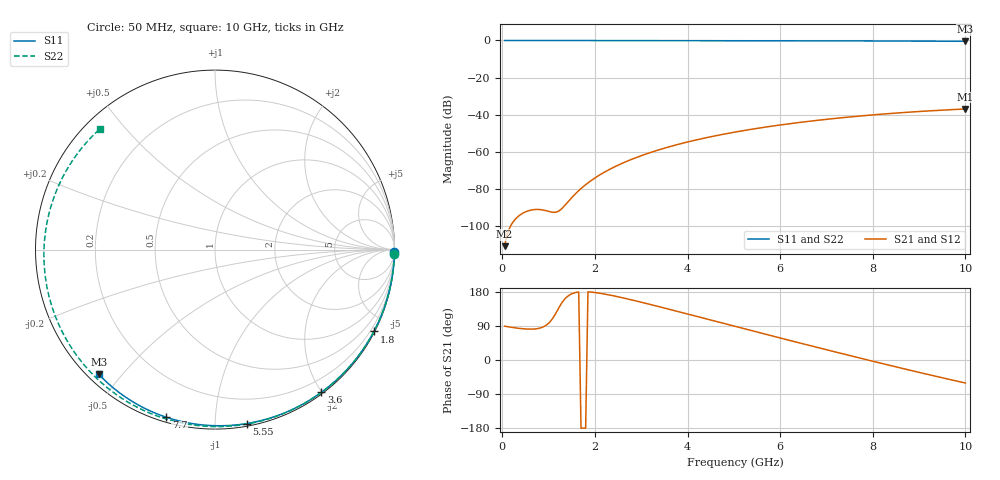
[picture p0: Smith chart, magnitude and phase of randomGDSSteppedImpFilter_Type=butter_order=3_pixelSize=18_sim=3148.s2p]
! freq	dB(S11)	phase(S11)	dB(S12)	phase(S12)
!  dB(S21)	phase(S21)	dB(S22)	phase(S22)
!S-par simulation data
#  GHz  S  DB  R 50
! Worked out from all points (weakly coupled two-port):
!   200 points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, 50 MHz to 10 GHz, reference 50 ohm
!   highest |S21| = -36.97 dB at 10 GHz (marker M1); lowest = -111.0 dB at 50 MHz (marker M2)
!   lowest |S11| = -0.4 dB at 10 GHz (marker M3), VSWR 38.69, Z = 1.54 - j21.7 ohm
!   |S11| at or under -10 dB: nowhere
!   |S22| runs from -0.6 to 0.0 dB; largest |S21 - S12| = 0
!   S11 on the Smith chart (normalised r, x): 50 MHz: open; 1.8 GHz: 0.04, -4.13; 3.6 GHz: 0.02, -1.99; 5.55 GHz: 0.02, -1.20; 7.7 GHz: 0.02, -0.75; 10 GHz: 0.03, -0.43
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0.05  -0.00 -0.8  -111.00 89.2  -111.00 89.2  -0.00 -1.3
0.85  -0.02 -13.0  -91.36 85.7  -91.36 85.7  -0.03 -20.9
1.65  -0.03 -25.0  -81.03 179.5  -81.03 179.5  -0.05 -40.3
1.7  -0.03 -25.8  -79.90 -180.0  -79.90 -180.0  -0.05 -41.4
1.75  -0.03 -26.5  -78.83 -179.7  -78.83 -179.7  -0.05 -42.6
1.8  -0.03 -27.2  -77.82 -179.8  -77.82 -179.8  -0.06 -43.8
2.1  -0.04 -31.7  -72.62 176.3  -72.62 176.3  -0.06 -50.9
2.45  -0.05 -36.8  -67.89 168.1  -67.89 168.1  -0.08 -59.0
2.9  -0.06 -43.3  -63.10 155.5  -63.10 155.5  -0.09 -69.2
3.4  -0.07 -50.5  -58.87 140.2  -58.87 140.2  -0.11 -80.4
3.6  -0.07 -53.3  -57.41 134.0  -57.41 134.0  -0.11 -84.8
4.3  -0.09 -63.0  -53.04 111.9  -53.04 111.9  -0.14 -99.9
5.05  -0.11 -73.0  -49.33 88.0  -49.33 88.0  -0.18 -115.6
5.55  -0.13 -79.6  -47.26 72.2  -47.26 72.2  -0.21 -126.0
6.15  -0.15 -87.2  -45.10 53.4  -45.10 53.4  -0.25 -138.4
6.7  -0.18 -94.1  -43.39 36.3  -43.39 36.3  -0.29 -149.9
7.2  -0.21 -100.2  -42.03 21.0  -42.03 21.0  -0.33 -160.4
7.7  -0.24 -106.3  -40.82 5.8  -40.82 5.8  -0.38 -171.2
8.35  -0.29 -114.0  -39.46 -13.7  -39.46 -13.7  -0.45 174.3
8.8  -0.33 -119.2  -38.66 -26.9  -38.66 -26.9  -0.50 163.8
9.2  -0.37 -123.8  -38.02 -38.4  -38.02 -38.4  -0.54 154.1
10  -0.45 -133.0  -36.97 -60.8  -36.97 -60.8  -0.64 133.4
